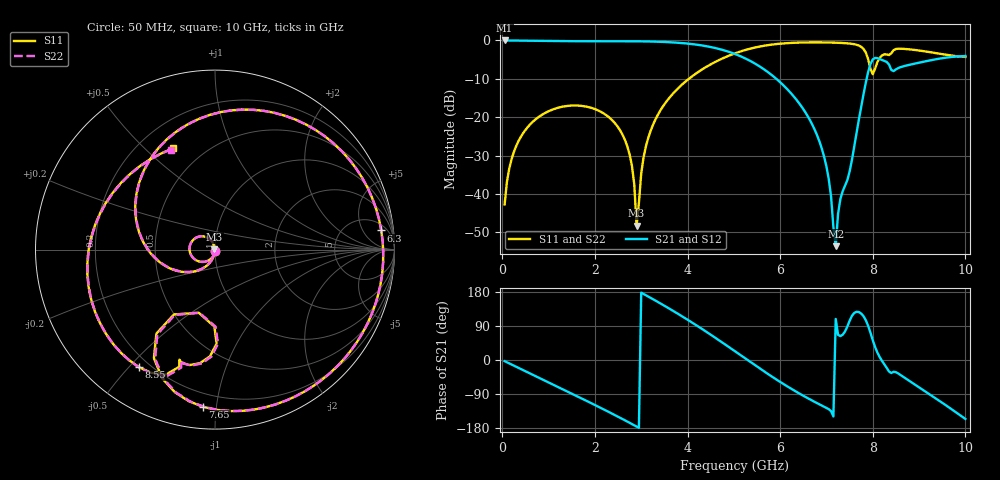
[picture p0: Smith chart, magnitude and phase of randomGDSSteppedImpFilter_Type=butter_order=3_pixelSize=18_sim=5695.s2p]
! freq	dB(S11)	phase(S11)	dB(S12)	phase(S12)
!  dB(S21)	phase(S21)	dB(S22)	phase(S22)
!S-par simulation data
#  GHz  S  DB  R 50
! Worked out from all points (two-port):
!   200 points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, 50 MHz to 10 GHz, reference 50 ohm
!   highest |S21| = 0.00 dB at 50 MHz (marker M1); lowest = -53.6 dB at 7.2 GHz (marker M2)
!   |S21| within 3 dB of the highest: start of sweep to 4.902 GHz
!   lowest |S11| = -48.2 dB at 2.9 GHz (marker M3), VSWR 1.01, Z = 49.7 + j0.239 ohm
!   |S11| at or under -10 dB: start of sweep to 4.028 GHz
!   |S22| runs from -48.1 to -0.5 dB; largest |S21 - S12| = 0
!   S11 on the Smith chart (normalised r, x): 50 MHz: 1.00, -0.01; 6.3 GHz: 8, +13; 7.65 GHz: 0.12, -0.92; 8.55 GHz: 0.16, -0.53; 10 GHz: 0.34, +0.61
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0.05  -42.73 -91.3  -0.00 -3.0  -0.00 -3.0  -42.73 -91.3
0.5  -23.32 -119.9  -0.06 -29.7  -0.06 -29.7  -23.32 -120.0
1.75  -17.11 165.7  -0.21 -103.6  -0.21 -103.6  -17.11 165.5
2.65  -25.97 111.1  -0.21 -159.3  -0.21 -159.3  -25.96 111.0
2.8  -32.72 103.4  -0.22 -169.0  -0.22 -169.0  -32.70 103.4
2.9  -48.24 141.7  -0.22 -175.6  -0.22 -175.6  -48.06 141.4
3.05  -30.52 -99.5  -0.25 174.4  -0.25 174.4  -30.53 -100.1
3.4  -18.51 -121.5  -0.35 150.3  -0.35 150.3  -18.52 -122.0
4.2  -8.47 179.5  -1.11 90.9  -1.11 90.9  -8.47 179.0
5.05  -3.25 109.2  -3.65 20.8  -3.65 20.8  -3.25 108.9
5.65  -1.39 58.2  -7.51 -29.8  -7.51 -29.8  -1.39 58.0
6.3  -0.61 6.6  -14.67 -80.3  -14.67 -80.3  -0.61 6.6
6.7  -0.50 -22.6  -22.09 -107.6  -22.09 -107.6  -0.50 -22.4
7  -0.52 -43.6  -32.88 -126.3  -32.88 -126.3  -0.52 -43.3
7.2  -0.59 -57.8  -53.60 108.4  -53.60 108.4  -0.58 -57.4
7.3  -0.64 -65.0  -41.32 63.0  -41.32 63.0  -0.63 -64.6
7.65  -1.13 -94.4  -24.05 127.3  -24.05 127.3  -1.12 -93.8
8  -8.80 -104.6  -4.94 52.3  -4.94 52.3  -8.80 -103.8
8.35  -3.82 -107.9  -6.26 -30.3  -6.26 -30.3  -3.81 -107.0
8.55  -2.16 -122.8  -7.20 -35.5  -7.20 -35.5  -2.15 -121.8
9.2  -2.98 -177.1  -5.28 -88.1  -5.28 -88.1  -2.97 -175.7
10  -4.29 112.6  -4.06 -155.6  -4.06 -155.6  -4.30 113.9
